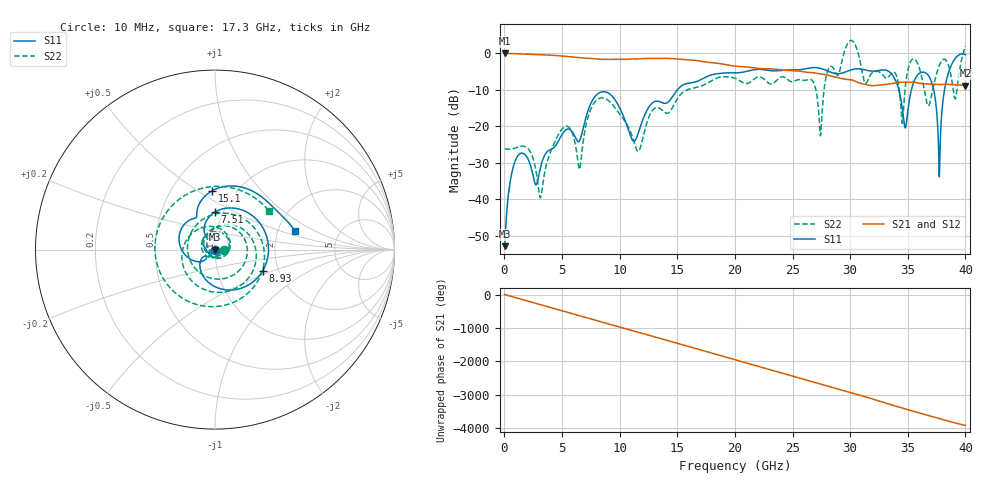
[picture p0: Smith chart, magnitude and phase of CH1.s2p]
!Keysight Technologies,N5245B,MY57181346,A.13.60.06
!Automatic Fixture Removal (AFR)
!Date: Thursday, August 08, 2019, 03:51:17
!S2P File: Measurements: S11,S21,S12,S22:
# MHz S  DB  R 50
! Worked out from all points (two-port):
!   4000 points, 10 MHz to 40 GHz, reference 50 ohm
!   highest |S21| = -0.01 dB at 10 MHz (marker M1); lowest = -8.9 dB at 40 GHz (marker M2)
!   |S21| within 3 dB of the highest: start of sweep to 19.04 GHz
!   lowest |S11| = -52.8 dB at 10 MHz (marker M3), VSWR 1.00, Z = 49.8 + j0.038 ohm
!   |S11| at or under -10 dB: start of sweep to 15 GHz; 34.22 GHz to 35.31 GHz (1.093 GHz wide, 3.14 % of centre); 37.25 GHz to 38.19 GHz (939.2 MHz wide, 2.49 % of centre)
!   |S22| runs from -39.6 to 3.5 dB; largest |S21 - S12| = 1.7e-14
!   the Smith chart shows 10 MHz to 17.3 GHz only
!   S11 on the Smith chart (normalised r, x): 10 MHz: 1.00, +0.00; 7.51 GHz: 0.92, +0.40; 8.93 GHz: 1.65, -0.43; 15.1 GHz: 0.78, +0.58; 17.3 GHz: 2.49, +0.64
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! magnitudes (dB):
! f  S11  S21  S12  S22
! 10 MHz  -52.8  0.0  0.0  -26.2
! 1.17 GHz  -28.0  -0.1  -0.1  -25.6
! 3.11 GHz  -31.5  -0.4  -0.4  -39.6
! 5.09 GHz  -21.8  -0.8  -0.8  -20.4
! 6.68 GHz  -22.4  -1.2  -1.2  -28.1
! 7.51 GHz  -13.6  -1.5  -1.5  -15.1
! 8.93 GHz  -10.7  -1.7  -1.7  -12.7
! 11.58 GHz  -22.1  -1.5  -1.5  -26.9
! 13.34 GHz  -13.1  -1.4  -1.4  -14.9
! 15.1 GHz  -9.7  -1.6  -1.6  -12.0
! 17.3 GHz  -6.8  -2.3  -2.3  -8.6
! 20.01 GHz  -5.4  -3.5  -3.5  -6.8
! 26.67 GHz  -3.9  -5.3  -5.3  -7.3
! 27.41 GHz  -4.1  -5.6  -5.6  -22.5
! 29.97 GHz  -4.6  -7.2  -7.2  3.4
! 33.34 GHz  -4.9  -8.4  -8.4  -6.4
! 34.78 GHz  -20.4  -7.9  -7.9  -9.3
! 35.59 GHz  -7.3  -7.9  -7.9  -1.6
! 36.77 GHz  -6.0  -8.4  -8.4  -14.4
! 37.74 GHz  -33.8  -8.5  -8.5  -3.3
! 39.12 GHz  -1.4  -8.6  -8.6  -12.5
! 40 GHz  -0.4  -8.9  -8.9  1.9
